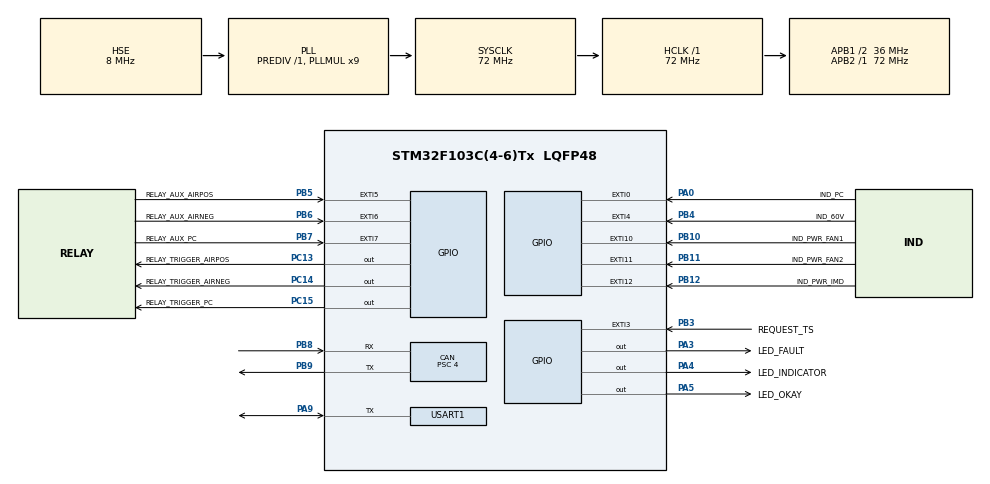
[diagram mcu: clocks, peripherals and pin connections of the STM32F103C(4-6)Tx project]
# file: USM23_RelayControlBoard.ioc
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CAN.ABOM=DISABLE
CAN.AWUM=DISABLE
CAN.BS1=CAN_BS1_15TQ
CAN.BS2=CAN_BS2_2TQ
CAN.CalculateBaudRate=500000
CAN.CalculateTimeBit=2000
CAN.CalculateTimeQuantum=111.11111111111111
CAN.Prescaler=4
Mcu.Family=STM32F1
Mcu.Name=STM32F103C(4-6)Tx
Mcu.Package=LQFP48
NVIC.EXTI0_IRQn=true\:0\:0\:false\:false\:true\:true\:true\:true
NVIC.EXTI15_10_IRQn=true\:0\:0\:false\:false\:true\:true\:true\:true
NVIC.EXTI3_IRQn=true\:0\:0\:false\:false\:true\:true\:true\:true
NVIC.EXTI4_IRQn=true\:0\:0\:false\:false\:true\:true\:true\:true
NVIC.EXTI9_5_IRQn=true\:0\:0\:false\:false\:true\:true\:true\:true
NVIC.PriorityGroup=NVIC_PRIORITYGROUP_4
NVIC.TIM1_UP_IRQn=true\:0\:0\:false\:false\:true\:true\:true\:true
NVIC.TIM2_IRQn=true\:0\:0\:false\:false\:true\:true\:true\:true
NVIC.USB_HP_CAN1_TX_IRQn=true\:0\:0\:false\:false\:true\:true\:true\:true
NVIC.USB_LP_CAN1_RX0_IRQn=true\:0\:0\:false\:false\:true\:true\:true\:true
PA0-WKUP.GPIO_Label=IND_PC
PA0-WKUP.GPIO_PuPd=GPIO_PULLUP
PA0-WKUP.Signal=GPXTI0
PA13.Mode=Serial_Wire
PA13.Signal=SYS_JTMS-SWDIO
PA14.Mode=Serial_Wire
PA14.Signal=SYS_JTCK-SWCLK
PA3.GPIO_Label=LED_FAULT
PA3.Signal=GPIO_Output
PA4.GPIO_Label=LED_INDICATOR
PA4.Signal=GPIO_Output
PA5.GPIO_Label=LED_OKAY
PA5.Signal=GPIO_Output
PA9.Mode=Half_duplex(single_wire_mode)
PA9.Signal=USART1_TX
PB10.GPIO_Label=IND_PWR_FAN1
PB10.Signal=GPXTI10
PB11.GPIO_Label=IND_PWR_FAN2
PB11.Signal=GPXTI11
PB12.GPIO_Label=IND_PWR_IMD
PB12.Signal=GPXTI12
PB3.GPIO_Label=REQUEST_TS
PB3.GPIO_ModeDefaultEXTI=GPIO_MODE_IT_RISING_FALLING
PB3.GPIO_PuPd=GPIO_PULLDOWN
PB3.Signal=GPXTI3
PB4.GPIO_Label=IND_60V
PB4.GPIO_PuPd=GPIO_PULLUP
PB4.Signal=GPXTI4
PB5.GPIO_Label=RELAY_AUX_AIRPOS
PB5.GPIO_PuPd=GPIO_PULLUP
PB5.Signal=GPXTI5
PB6.GPIO_Label=RELAY_AUX_AIRNEG
PB6.GPIO_PuPd=GPIO_PULLUP
PB6.Signal=GPXTI6
PB7.GPIO_Label=RELAY_AUX_PC
PB7.GPIO_PuPd=GPIO_PULLUP
PB7.Signal=GPXTI7
PB8.Mode=CAN_Activate
PB8.Signal=CAN_RX
PB9.Mode=CAN_Activate
PB9.Signal=CAN_TX
PC13-TAMPER-RTC.GPIO_Label=RELAY_TRIGGER_AIRPOS
PC13-TAMPER-RTC.Signal=GPIO_Output
PC14-OSC32_IN.GPIO_Label=RELAY_TRIGGER_AIRNEG
PC14-OSC32_IN.Signal=GPIO_Output
PC15-OSC32_OUT.GPIO_Label=RELAY_TRIGGER_PC
PC15-OSC32_OUT.Signal=GPIO_Output
PD0-OSC_IN.Mode=HSE-External-Oscillator
PD0-OSC_IN.Signal=RCC_OSC_IN
PD1-OSC_OUT.Mode=HSE-External-Oscillator
PD1-OSC_OUT.Signal=RCC_OSC_OUT
ProjectManager.HeapSize=0x200
ProjectManager.StackSize=0x400
ProjectManager.TargetToolchain=STM32CubeIDE
RCC.AHBFreq_Value=72000000
RCC.APB1CLKDivider=RCC_HCLK_DIV2
RCC.APB1Freq_Value=36000000
RCC.APB1TimFreq_Value=72000000
RCC.APB2Freq_Value=72000000
RCC.APB2TimFreq_Value=72000000
RCC.HCLKFreq_Value=72000000
RCC.PLLMUL=RCC_PLL_MUL9
RCC.PLLSourceVirtual=RCC_PLLSOURCE_HSE
RCC.SYSCLKFreq_VALUE=72000000
RCC.SYSCLKSource=RCC_SYSCLKSOURCE_PLLCLK
RCC.USBFreq_Value=72000000
TIM1.Period=100-1
TIM1.Prescaler=720-1
TIM2.Period=50000-1
TIM2.Prescaler=7200-1
USART1.VirtualMode=VM_ASYNC
VP_TIM1_VS_ClockSourceINT.Mode=Internal
VP_TIM2_VS_ClockSourceINT.Mode=Internal
board=custom

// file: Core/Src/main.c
/* USER CODE BEGIN Header */
/**
  ******************************************************************************
  * @file           : main.c
  * @brief          : Main program body
  ******************************************************************************
  * @attention
  *
  * Copyright (c) 2023 STMicroelectronics.
  * All rights reserved.
  *
  * This software is licensed under terms that can be found in the LICENSE file
  * in the root directory of this software component.
  * If no LICENSE file comes with this software, it is provided AS-IS.
  *
  ******************************************************************************
  */
/* USER CODE END Header */
#include "main.h"

/* USER CODE BEGIN Includes */
#include "stm32_utils.h"
#include "can_utils.h"
#include "control.h"
/* USER CODE END Includes */

CAN_HandleTypeDef hcan;

TIM_HandleTypeDef htim1;
TIM_HandleTypeDef htim2;

UART_HandleTypeDef huart1;

/* USER CODE BEGIN PV */
uint8_t STARTUP_COMPLETE = False;
uint8_t INITIAL_PC = False;
/* USER CODE END PV */

void SystemClock_Config(void);
static void MX_GPIO_Init(void);
static void MX_CAN_Init(void);
static void MX_USART1_UART_Init(void);
static void MX_TIM1_Init(void);
static void MX_TIM2_Init(void);

/* USER CODE BEGIN 0 */
void TaskScheduleHandler(){
SCHEDULE_HANDLE(SCH_LED_FAULT)
	HAL_GPIO_TogglePin(LED_FAULT_GPIO_Port, LED_FAULT_Pin);
}
SCHEDULE_HANDLE(SCH_LED_INDICATOR)
	HAL_GPIO_TogglePin(LED_INDICATOR_GPIO_Port, LED_INDICATOR_Pin);
}
SCHEDULE_HANDLE(SCH_LED_OKAY)
	HAL_GPIO_TogglePin(LED_OKAY_GPIO_Port, LED_OKAY_Pin);
}
SCHEDULE_HANDLE(SCH_CAN_STATE)
	CAN_Transmit_State();
}
SCHEDULE_HANDLE(SCH_DEBOUNCE_RELAYS)
	Debounce_Relays();
}
SCHEDULE_HANDLE(SCH_DEBOUNCE_PC)
	Debounce_PC();
}
SCHEDULE_HANDLE(SCH_DEBOUNCE_TS_REQUEST)
	Debounce_TS();
}
SCHEDULE_HANDLE(SCH_DEBOUNCE_PWR)
	Debounce_Power();
}
SCHEDULE_HANDLE(SCH_DEVCON_CHARGER)
	DevCon_Charger(False);
}
SCHEDULE_HANDLE(SCH_DEVCON_OVERRIDE)
	DevCon_Override(False);
}
SCHEDULE_HANDLE(SCH_CHARGER_CHECK)
	if(Status_Check(STATUS_Idle)){
		if(hrcb.DEVCON_CHARGER){
			ScheduleTaskStop(SCH_CHARGER_CHECK);
			PC_Routine_Charge_Start();
		}
	}
}
SCHEDULE_HANDLE(SCH_COMPLETE_STARTUP)
	STARTUP_COMPLETE = True;
}
SCHEDULE_HANDLE(SCH_PC_OVERFLOW)
	PC_Overflow();
}
}
/* USER CODE END 0 */

int main(void)
{

  /* MCU Configuration--------------------------------------------------------*/

  /* Reset of all peripherals, Initializes the Flash interface and the Systick. */
  HAL_Init();

  /* Configure the system clock */
  SystemClock_Config();

  /* Initialize all configured peripherals */
  MX_GPIO_Init();
  MX_CAN_Init();
  MX_USART1_UART_Init();
  MX_TIM1_Init();
  MX_TIM2_Init();
  /* USER CODE BEGIN 2 */

  // Start CAN
  HAL_CAN_Start(&hcan);
  if(hcan.State!=HAL_CAN_STATE_LISTENING){
	  HAL_NVIC_SystemReset();
  }
  HAL_TIM_Base_Start_IT(&SOFTCLK_TIMER_TYPE);

  hrcb.STATUS = STATUS_Startup;
  // Activate interrupts for the TX Mailbox Empty and for an incoming message
  HAL_CAN_ActivateNotification(&hcan, CAN_IT_TX_MAILBOX_EMPTY | CAN_IT_RX_FIFO0_MSG_PENDING);

  CAN_UTIL_Setup(CAN_TX_STATE, 0x00000A84, 8);

  Startup();

  ScheduleTask(SCH_CAN_STATE, 500, True, 0);

  Input_Check();

  Status_Set(STATUS_Idle);

  ScheduleTask(SCH_CHARGER_CHECK, 1000, True, 0);

  ScheduleTask(SCH_COMPLETE_STARTUP, 1200, False, 0);

  /* USER CODE END 2 */

  /* Infinite loop */
  while (1)
  {

    /* USER CODE BEGIN 3 */

	  CAN_RX_Handler();
	  TaskScheduleSoftClock();
	  TaskScheduleHandler();
  }
  /* USER CODE END 3 */
}

void SystemClock_Config(void)
{
  RCC_OscInitTypeDef RCC_OscInitStruct = {0};
  RCC_ClkInitTypeDef RCC_ClkInitStruct = {0};

  /** Initializes the RCC Oscillators according to the specified parameters
  * in the RCC_OscInitTypeDef structure.
  */
  RCC_OscInitStruct.OscillatorType = RCC_OSCILLATORTYPE_HSE;
  RCC_OscInitStruct.HSEState = RCC_HSE_ON;
  RCC_OscInitStruct.HSEPredivValue = RCC_HSE_PREDIV_DIV1;
  RCC_OscInitStruct.HSIState = RCC_HSI_ON;
  RCC_OscInitStruct.PLL.PLLState = RCC_PLL_ON;
  RCC_OscInitStruct.PLL.PLLSource = RCC_PLLSOURCE_HSE;
  RCC_OscInitStruct.PLL.PLLMUL = RCC_PLL_MUL9;
  if (HAL_RCC_OscConfig(&RCC_OscInitStruct) != HAL_OK)
  {
    Error_Handler();
  }

  /** Initializes the CPU, AHB and APB buses clocks
  */
  RCC_ClkInitStruct.ClockType = RCC_CLOCKTYPE_HCLK|RCC_CLOCKTYPE_SYSCLK
                              |RCC_CLOCKTYPE_PCLK1|RCC_CLOCKTYPE_PCLK2;
  RCC_ClkInitStruct.SYSCLKSource = RCC_SYSCLKSOURCE_PLLCLK;
  RCC_ClkInitStruct.AHBCLKDivider = RCC_SYSCLK_DIV1;
  RCC_ClkInitStruct.APB1CLKDivider = RCC_HCLK_DIV2;
  RCC_ClkInitStruct.APB2CLKDivider = RCC_HCLK_DIV1;

  if (HAL_RCC_ClockConfig(&RCC_ClkInitStruct, FLASH_LATENCY_2) != HAL_OK)
  {
    Error_Handler();
  }
}

static void MX_CAN_Init(void)
{

  hcan.Instance = CAN1;
  hcan.Init.Prescaler = 4;
  hcan.Init.Mode = CAN_MODE_NORMAL;
  hcan.Init.SyncJumpWidth = CAN_SJW_1TQ;
  hcan.Init.TimeSeg1 = CAN_BS1_15TQ;
  hcan.Init.TimeSeg2 = CAN_BS2_2TQ;
  hcan.Init.TimeTriggeredMode = DISABLE;
  hcan.Init.AutoBusOff = DISABLE;
  hcan.Init.AutoWakeUp = DISABLE;
  hcan.Init.AutoRetransmission = DISABLE;
  hcan.Init.ReceiveFifoLocked = DISABLE;
  hcan.Init.TransmitFifoPriority = DISABLE;
  if (HAL_CAN_Init(&hcan) != HAL_OK)
  {
    Error_Handler();
  }
  /* USER CODE BEGIN CAN_Init 2 */
  CAN_FilterTypeDef CAN_Filter;
  CAN_Filter.FilterActivation = CAN_FILTER_ENABLE;
  CAN_Filter.FilterFIFOAssignment = CAN_FILTER_FIFO0;
  CAN_Filter.FilterBank = 0;
  CAN_Filter.FilterScale = CAN_FILTERSCALE_32BIT;
  CAN_Filter.FilterMode = CAN_FILTERMODE_IDMASK;

  uint32_t filter_id = 	 0x18FF50E5;
  uint32_t filter_mask = 0x1FFFFFFF;

  CAN_Filter.FilterIdHigh = filter_id >> 13 & 0xFFFF;
  CAN_Filter.FilterIdLow = filter_id << 3 & 0xFFF8;
  CAN_Filter.FilterMaskIdHigh = filter_mask >> 13 & 0xFFFF;
  CAN_Filter.FilterMaskIdLow = filter_mask << 3 & 0xFFF8;

  HAL_CAN_ConfigFilter(&hcan, &CAN_Filter);
  /* USER CODE END CAN_Init 2 */

}

static void MX_TIM1_Init(void)
{

  TIM_ClockConfigTypeDef sClockSourceConfig = {0};
  TIM_MasterConfigTypeDef sMasterConfig = {0};

  htim1.Instance = TIM1;
  htim1.Init.Prescaler = 720-1;
  htim1.Init.CounterMode = TIM_COUNTERMODE_UP;
  htim1.Init.Period = 100-1;
  htim1.Init.ClockDivision = TIM_CLOCKDIVISION_DIV1;
  htim1.Init.RepetitionCounter = 0;
  htim1.Init.AutoReloadPreload = TIM_AUTORELOAD_PRELOAD_DISABLE;
  if (HAL_TIM_Base_Init(&htim1) != HAL_OK)
  {
    Error_Handler();
  }
  sClockSourceConfig.ClockSource = TIM_CLOCKSOURCE_INTERNAL;
  if (HAL_TIM_ConfigClockSource(&htim1, &sClockSourceConfig) != HAL_OK)
  {
    Error_Handler();
  }
  sMasterConfig.MasterOutputTrigger = TIM_TRGO_RESET;
  sMasterConfig.MasterSlaveMode = TIM_MASTERSLAVEMODE_DISABLE;
  if (HAL_TIMEx_MasterConfigSynchronization(&htim1, &sMasterConfig) != HAL_OK)
  {
    Error_Handler();
  }

}

static void MX_TIM2_Init(void)
{

  TIM_ClockConfigTypeDef sClockSourceConfig = {0};
  TIM_MasterConfigTypeDef sMasterConfig = {0};

  htim2.Instance = TIM2;
  htim2.Init.Prescaler = 7200-1;
  htim2.Init.CounterMode = TIM_COUNTERMODE_UP;
  htim2.Init.Period = 50000-1;
  htim2.Init.ClockDivision = TIM_CLOCKDIVISION_DIV1;
  htim2.Init.AutoReloadPreload = TIM_AUTORELOAD_PRELOAD_DISABLE;
  if (HAL_TIM_Base_Init(&htim2) != HAL_OK)
  {
    Error_Handler();
  }
  sClockSourceConfig.ClockSource = TIM_CLOCKSOURCE_INTERNAL;
  if (HAL_TIM_ConfigClockSource(&htim2, &sClockSourceConfig) != HAL_OK)
  {
    Error_Handler();
  }
  sMasterConfig.MasterOutputTrigger = TIM_TRGO_RESET;
  sMasterConfig.MasterSlaveMode = TIM_MASTERSLAVEMODE_DISABLE;
  if (HAL_TIMEx_MasterConfigSynchronization(&htim2, &sMasterConfig) != HAL_OK)
  {
    Error_Handler();
  }

}

static void MX_USART1_UART_Init(void)
{

  huart1.Instance = USART1;
  huart1.Init.BaudRate = 115200;
  huart1.Init.WordLength = UART_WORDLENGTH_8B;
  huart1.Init.StopBits = UART_STOPBITS_1;
  huart1.Init.Parity = UART_PARITY_NONE;
  huart1.Init.Mode = UART_MODE_TX_RX;
  huart1.Init.HwFlowCtl = UART_HWCONTROL_NONE;
  huart1.Init.OverSampling = UART_OVERSAMPLING_16;
  if (HAL_HalfDuplex_Init(&huart1) != HAL_OK)
  {
    Error_Handler();
  }

}

static void MX_GPIO_Init(void)
{
  GPIO_InitTypeDef GPIO_InitStruct = {0};

  /* GPIO Ports Clock Enable */
  __HAL_RCC_GPIOC_CLK_ENABLE();
  __HAL_RCC_GPIOD_CLK_ENABLE();
  __HAL_RCC_GPIOA_CLK_ENABLE();
  __HAL_RCC_GPIOB_CLK_ENABLE();

  /*Configure GPIO pin Output Level */
  HAL_GPIO_WritePin(GPIOC, RELAY_TRIGGER_AIRPOS_Pin|RELAY_TRIGGER_AIRNEG_Pin|RELAY_TRIGGER_PC_Pin, GPIO_PIN_RESET);

  /*Configure GPIO pin Output Level */
  HAL_GPIO_WritePin(GPIOA, LED_FAULT_Pin|LED_INDICATOR_Pin|LED_OKAY_Pin, GPIO_PIN_RESET);

  /*Configure GPIO pins : RELAY_TRIGGER_AIRPOS_Pin RELAY_TRIGGER_AIRNEG_Pin RELAY_TRIGGER_PC_Pin */
  GPIO_InitStruct.Pin = RELAY_TRIGGER_AIRPOS_Pin|RELAY_TRIGGER_AIRNEG_Pin|RELAY_TRIGGER_PC_Pin;
  GPIO_InitStruct.Mode = GPIO_MODE_OUTPUT_PP;
  GPIO_InitStruct.Pull = GPIO_NOPULL;
  GPIO_InitStruct.Speed = GPIO_SPEED_FREQ_LOW;
  HAL_GPIO_Init(GPIOC, &GPIO_InitStruct);

  /*Configure GPIO pin : IND_PC_Pin */
  GPIO_InitStruct.Pin = IND_PC_Pin;
  GPIO_InitStruct.Mode = GPIO_MODE_IT_RISING;
  GPIO_InitStruct.Pull = GPIO_PULLUP;
  HAL_GPIO_Init(IND_PC_GPIO_Port, &GPIO_InitStruct);

  /*Configure GPIO pins : LED_FAULT_Pin LED_INDICATOR_Pin LED_OKAY_Pin */
  GPIO_InitStruct.Pin = LED_FAULT_Pin|LED_INDICATOR_Pin|LED_OKAY_Pin;
  GPIO_InitStruct.Mode = GPIO_MODE_OUTPUT_PP;
  GPIO_InitStruct.Pull = GPIO_NOPULL;
  GPIO_InitStruct.Speed = GPIO_SPEED_FREQ_LOW;
  HAL_GPIO_Init(GPIOA, &GPIO_InitStruct);

  /*Configure GPIO pins : IND_PWR_FAN1_Pin IND_PWR_FAN2_Pin IND_PWR_IMD_Pin */
  GPIO_InitStruct.Pin = IND_PWR_FAN1_Pin|IND_PWR_FAN2_Pin|IND_PWR_IMD_Pin;
  GPIO_InitStruct.Mode = GPIO_MODE_IT_RISING;
  GPIO_InitStruct.Pull = GPIO_NOPULL;
  HAL_GPIO_Init(GPIOB, &GPIO_InitStruct);

  /*Configure GPIO pin : REQUEST_TS_Pin */
  GPIO_InitStruct.Pin = REQUEST_TS_Pin;
  GPIO_InitStruct.Mode = GPIO_MODE_IT_RISING_FALLING;
  GPIO_InitStruct.Pull = GPIO_PULLDOWN;
  HAL_GPIO_Init(REQUEST_TS_GPIO_Port, &GPIO_InitStruct);

  /*Configure GPIO pins : IND_60V_Pin RELAY_AUX_AIRPOS_Pin RELAY_AUX_AIRNEG_Pin RELAY_AUX_PC_Pin */
  GPIO_InitStruct.Pin = IND_60V_Pin|RELAY_AUX_AIRPOS_Pin|RELAY_AUX_AIRNEG_Pin|RELAY_AUX_PC_Pin;
  GPIO_InitStruct.Mode = GPIO_MODE_IT_RISING;
  GPIO_InitStruct.Pull = GPIO_PULLUP;
  HAL_GPIO_Init(GPIOB, &GPIO_InitStruct);

  /* EXTI interrupt init*/
  HAL_NVIC_SetPriority(EXTI0_IRQn, 0, 0);
  HAL_NVIC_EnableIRQ(EXTI0_IRQn);

  HAL_NVIC_SetPriority(EXTI3_IRQn, 0, 0);
  HAL_NVIC_EnableIRQ(EXTI3_IRQn);

  HAL_NVIC_SetPriority(EXTI4_IRQn, 0, 0);
  HAL_NVIC_EnableIRQ(EXTI4_IRQn);

  HAL_NVIC_SetPriority(EXTI9_5_IRQn, 0, 0);
  HAL_NVIC_EnableIRQ(EXTI9_5_IRQn);

  HAL_NVIC_SetPriority(EXTI15_10_IRQn, 0, 0);
  HAL_NVIC_EnableIRQ(EXTI15_10_IRQn);

}

/* USER CODE BEGIN 4 */
void HAL_TIM_PeriodElapsedCallback (TIM_HandleTypeDef * htim) {
	if (htim == &SOFTCLK_TIMER_TYPE) {
		TaskScheduleSoftClock_FlagSet();
	}else if(htim == &PC_TIMER_TYPE){
		if(INITIAL_PC==True){
			ScheduleTask(SCH_PC_OVERFLOW, 0, False, 0);
		}else{
			INITIAL_PC = True;
		}
	}
}

void HAL_GPIO_EXTI_Callback( uint16_t GPIO_Pin)
{
	if(Status_Check(STATUS_Startup)){
		return;
	}
	if(Status_Check(STATUS_Error)){
		return;
	}
	if(STARTUP_COMPLETE==False){
		return;
	}
	switch(GPIO_Pin){
	case IND_PWR_FAN1_Pin:
		ScheduleTask(SCH_DEBOUNCE_PWR, DEBOUNCE_PERIOD, 0, 0);
		break;
	case IND_PWR_FAN2_Pin:
		ScheduleTask(SCH_DEBOUNCE_PWR, DEBOUNCE_PERIOD, 0, 0);
		break;
	case IND_PWR_IMD_Pin:
		ScheduleTask(SCH_DEBOUNCE_PWR, DEBOUNCE_PERIOD, 0, 0);
		break;
	case IND_PC_Pin:
		ScheduleTask(SCH_DEBOUNCE_PC, DEBOUNCE_PERIOD, 0, 0);
		break;
	case REQUEST_TS_Pin:
		ScheduleTask(SCH_DEBOUNCE_TS_REQUEST, DEBOUNCE_PERIOD, 0, 0);
		break;
	case RELAY_AUX_AIRNEG_Pin:
		if(!BITCHECK(hrcb.RELAY_IT_IGNORE, RI_AIRNEG)){
			ScheduleTask(SCH_DEBOUNCE_RELAYS, DEBOUNCE_PERIOD, 0, 0);
		}
		break;
	case RELAY_AUX_AIRPOS_Pin:
		if(!BITCHECK(hrcb.RELAY_IT_IGNORE, RI_AIRPOS)){
			ScheduleTask(SCH_DEBOUNCE_RELAYS, DEBOUNCE_PERIOD, 0, 0);
		}
		break;
	case RELAY_AUX_PC_Pin:
		if(!BITCHECK(hrcb.RELAY_IT_IGNORE, RI_PC)){
			ScheduleTask(SCH_DEBOUNCE_RELAYS, DEBOUNCE_PERIOD, 0, 0);
		}
		break;
	case IND_60V_Pin:
		ScheduleTask(SCH_DEBOUNCE_RELAYS, DEBOUNCE_PERIOD, 0, 0);
		break;
	}
}
/* USER CODE END 4 */

void Error_Handler(void)
{
  __disable_irq();
  while (1)
  {
  }
}
